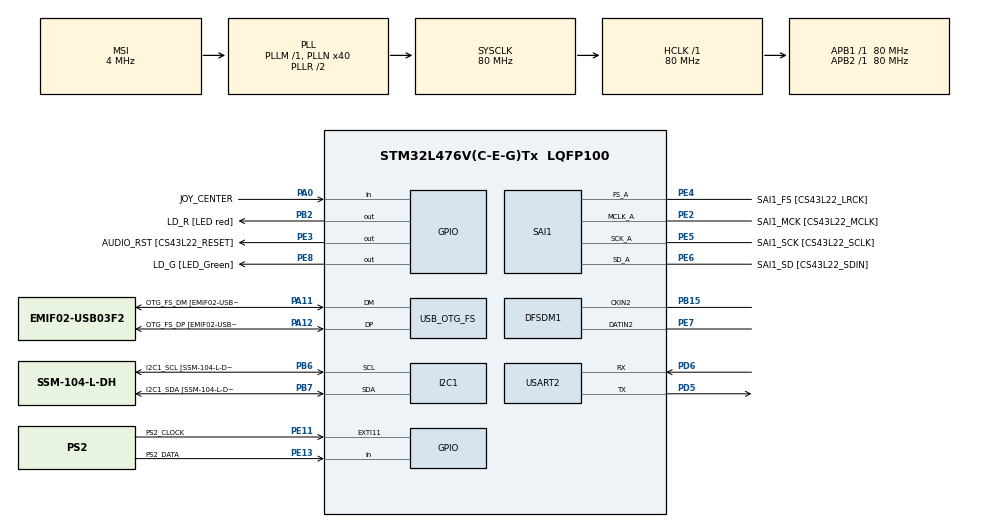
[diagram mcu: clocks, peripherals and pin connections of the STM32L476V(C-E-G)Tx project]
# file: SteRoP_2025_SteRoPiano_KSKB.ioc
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Dma.Request0=SAI1_A
Dma.SAI1_A.0.Direction=DMA_MEMORY_TO_PERIPH
Dma.SAI1_A.0.Instance=DMA2_Channel1
Dma.SAI1_A.0.MemDataAlignment=DMA_MDATAALIGN_HALFWORD
Dma.SAI1_A.0.MemInc=DMA_MINC_ENABLE
Dma.SAI1_A.0.Mode=DMA_CIRCULAR
Dma.SAI1_A.0.PeriphDataAlignment=DMA_PDATAALIGN_HALFWORD
Dma.SAI1_A.0.PeriphInc=DMA_PINC_DISABLE
Dma.SAI1_A.0.Priority=DMA_PRIORITY_HIGH
I2C1.Timing=0x10D19CE4
Mcu.Family=STM32L4
Mcu.Name=STM32L476V(C-E-G)Tx
Mcu.Package=LQFP100
NVIC.DMA2_Channel1_IRQn=true\:2\:0\:true\:false\:true\:false\:true\:true
NVIC.EXTI15_10_IRQn=true\:0\:0\:false\:false\:true\:true\:true\:true
NVIC.OTG_FS_IRQn=true\:1\:0\:true\:false\:true\:true\:true\:true
NVIC.PriorityGroup=NVIC_PRIORITYGROUP_4
NVIC.USART2_IRQn=true\:1\:0\:true\:false\:true\:true\:true\:true
PA0.GPIO_Label=JOY_CENTER 
PA0.GPIO_Mode=GPIO_MODE_INPUT
PA0.GPIO_PuPd=GPIO_PULLDOWN
PA0.Signal=GPIO_Input
PA11.GPIO_Label=OTG_FS_DM [EMIF02-USB03F2_D-out]
PA11.GPIO_Mode=GPIO_MODE_AF_PP
PA11.GPIO_PuPd=GPIO_NOPULL
PA11.GPIO_Speed=GPIO_SPEED_FREQ_VERY_HIGH
PA11.Mode=Device_Only
PA11.Signal=USB_OTG_FS_DM
PA12.GPIO_Label=OTG_FS_DP [EMIF02-USB03F2_D+out]
PA12.GPIO_Mode=GPIO_MODE_AF_PP
PA12.GPIO_PuPd=GPIO_NOPULL
PA12.GPIO_Speed=GPIO_SPEED_FREQ_VERY_HIGH
PA12.Mode=Device_Only
PA12.Signal=USB_OTG_FS_DP
PB15.Signal=S_CKIN2DFSDM1
PB2.GPIO_Label=LD_R [LED red]
PB2.GPIO_ModeDefaultOutputPP=GPIO_MODE_OUTPUT_PP
PB2.GPIO_PuPd=GPIO_PULLUP
PB2.GPIO_Speed=GPIO_SPEED_FREQ_VERY_HIGH
PB2.Signal=GPIO_Output
PB6.GPIO_FM6=__NULL
PB6.GPIO_Label=I2C1_SCL [SSM-104-L-DH_SCL]
PB6.GPIO_Mode=GPIO_MODE_AF_OD
PB6.GPIO_Pu=GPIO_PULLUP
PB6.GPIO_Speed=GPIO_SPEED_FREQ_VERY_HIGH
PB6.Mode=I2C
PB6.Signal=I2C1_SCL
PB7.GPIO_FM7=__NULL
PB7.GPIO_Label=I2C1_SDA [SSM-104-L-DH_SDA]
PB7.GPIO_Mode=GPIO_MODE_AF_OD
PB7.GPIO_Pu=GPIO_PULLUP
PB7.GPIO_Speed=GPIO_SPEED_FREQ_VERY_HIGH
PB7.Mode=I2C
PB7.Signal=I2C1_SDA
PD5.Mode=Asynchronous
PD5.Signal=USART2_TX
PD6.Mode=Asynchronous
PD6.Signal=USART2_RX
PE11.GPIO_Label=PS2_CLOCK
PE11.GPIO_ModeDefaultEXTI=GPIO_MODE_IT_FALLING
PE11.GPIO_PuPd=GPIO_PULLUP
PE11.Signal=GPXTI11
PE13.GPIO_Label=PS2_DATA
PE13.GPIO_PuPd=GPIO_PULLUP
PE13.Signal=GPIO_Input
PE2.GPIO_Label=SAI1_MCK [CS43L22_MCLK]
PE2.GPIO_Mode=GPIO_MODE_AF_PP
PE2.GPIO_PuPd=GPIO_NOPULL
PE2.GPIO_Speed=GPIO_SPEED_FREQ_VERY_HIGH
PE2.Mode=SAI_A_MasterWithClock
PE2.Signal=SAI1_MCLK_A
PE3.GPIO_Label=AUDIO_RST [CS43L22_RESET]
PE3.GPIO_ModeDefaultOutputPP=GPIO_MODE_OUTPUT_PP
PE3.GPIO_PuPd=GPIO_NOPULL
PE3.GPIO_Speed=GPIO_SPEED_FREQ_HIGH
PE3.Signal=GPIO_Output
PE4.GPIO_Label=SAI1_FS [CS43L22_LRCK]
PE4.GPIO_Mode=GPIO_MODE_AF_PP
PE4.GPIO_PuPd=GPIO_NOPULL
PE4.GPIO_Speed=GPIO_SPEED_FREQ_VERY_HIGH
PE4.Mode=SAI_A_MasterWithClock
PE4.Signal=SAI1_FS_A
PE5.GPIO_Label=SAI1_SCK [CS43L22_SCLK]
PE5.GPIO_Mode=GPIO_MODE_AF_PP
PE5.GPIO_PuPd=GPIO_NOPULL
PE5.GPIO_Speed=GPIO_SPEED_FREQ_VERY_HIGH
PE5.Mode=SAI_A_MasterWithClock
PE5.Signal=SAI1_SCK_A
PE6.GPIO_Label=SAI1_SD [CS43L22_SDIN]
PE6.GPIO_Mode=GPIO_MODE_AF_PP
PE6.GPIO_PuPd=GPIO_NOPULL
PE6.GPIO_Speed=GPIO_SPEED_FREQ_VERY_HIGH
PE6.Mode=SAI_A_MasterWithClock
PE6.Signal=SAI1_SD_A
PE7.Signal=S_DATAIN2DFSDM1
PE8.GPIO_Label=LD_G [LED_Green]
PE8.GPIO_ModeDefaultOutputPP=GPIO_MODE_OUTPUT_PP
PE8.GPIO_PuPd=GPIO_PULLUP
PE8.GPIO_Speed=GPIO_SPEED_FREQ_VERY_HIGH
PE8.Signal=GPIO_Output
ProjectManager.HeapSize=0x200
ProjectManager.StackSize=0x400
ProjectManager.TargetToolchain=STM32CubeIDE
RCC.ADCFreq_Value=96000000
RCC.AHBFreq_Value=80000000
RCC.APB1Freq_Value=80000000
RCC.APB1TimFreq_Value=80000000
RCC.APB2Freq_Value=80000000
RCC.APB2TimFreq_Value=80000000
RCC.CortexFreq_Value=80000000
RCC.HCLKFreq_Value=80000000
RCC.HSE_VALUE=8000000
RCC.HSI_VALUE=16000000
RCC.LSE_VALUE=32768
RCC.MSI_VALUE=4000000
RCC.PLLN=40
RCC.PLLQ=RCC_PLLQ_DIV4
RCC.PLLSAI1N=48
RCC.PLLSAI1P=RCC_PLLP_DIV17
RCC.PLLSAI1Q=RCC_PLLQ_DIV4
RCC.PREFETCH_ENABLE=1
RCC.SYSCLKFreq_VALUE=80000000
RCC.SYSCLKSource=RCC_SYSCLKSOURCE_PLLCLK
RCC.USBFreq_Value=48000000
RCC.VCOOutputFreq_Value=160000000
SAI1.ActiveFrameLength-SAI_A_MasterWithClock=16
SAI1.AudioFrequency-SAI_A_MasterWithClock=SAI_AUDIO_FREQUENCY_44K
SAI1.DataSize-SAI_A_MasterWithClock=SAI_DATASIZE_16
SAI1.ErrorAudioFreq-SAI_A_MasterWithClock=0.03 %
SAI1.FIFOThreshold-SAI_A_MasterWithClock=SAI_FIFOTHRESHOLD_1QF
SAI1.FSDefinition-SAI_A_MasterWithClock=SAI_FS_CHANNEL_IDENTIFICATION
SAI1.FSOffset-SAI_A_MasterWithClock=SAI_FS_BEFOREFIRSTBIT
SAI1.FrameLength-SAI_A_MasterWithClock=32
SAI1.Instance-SAI_A_MasterWithClock=SAI$Index_Block_A
SAI1.MClockEnable-SAI_A_MasterWithClock=SAI_MASTERCLOCK_ENABLE
SAI1.NoDivider-SAI_A_MasterWithClock=SAI_MASTERDIVIDER_ENABLE
SAI1.OutputDrive-SAI_A_MasterWithClock=SAI_OUTPUTDRIVE_ENABLE
SAI1.RealAudioFreq-SAI_A_MasterWithClock=44.117 KHz
SAI1.SlotActive-SAI_A_MasterWithClock=0x00000003
SAI1.SlotNumber-SAI_A_MasterWithClock=2
SAI1.VirtualMode-SAI_A_MasterWithClock=VM_MASTER
SAI1.VirtualSlotActive-SAI_A_MasterWithClock=SAI_SLOT_USERSETTING
SAI1.VirtualSlotActive0-SAI_A_MasterWithClock=true
SAI1.VirtualSlotActive1-SAI_A_MasterWithClock=true
SH.S_CKIN2DFSDM1.0=DFSDM1_CKIN2,PDM_SPI_input_from_ch2_and_external_clock
SH.S_DATAIN2DFSDM1.0=DFSDM1_DATIN2,PDM_SPI_input_from_ch2_and_external_clock
USART2.VirtualMode-Asynchronous=VM_ASYNC
USB_DEVICE.CLASS_NAME_FS=HID
USB_DEVICE.VirtualMode=Hid
USB_DEVICE.VirtualModeFS=Hid_FS
USB_OTG_FS.VirtualMode=Device_Only
VP_TIM6_VS_ClockSourceINT.Mode=Enable_Timer
VP_USB_DEVICE_VS_USB_DEVICE_HID_FS.Mode=HID_FS
board=STM32L476G-DISCO

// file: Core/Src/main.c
/* USER CODE BEGIN Header */
/**
  ******************************************************************************
  * @file           : main.c
  * @brief          : Main program body
  ******************************************************************************
  * @attention
  *
  * Copyright (c) 2025 STMicroelectronics.
  * All rights reserved.
  *
  * This software is licensed under terms that can be found in the LICENSE file
  * in the root directory of this software component.
  * If no LICENSE file comes with this software, it is provided AS-IS.
  *
  ******************************************************************************
  */
/* USER CODE END Header */
#include "main.h"
#include "dfsdm.h"
#include "dma.h"
#include "i2c.h"
#include "sai.h"
#include "tim.h"
#include "usart.h"
#include "usb_device.h"
#include "gpio.h"

/* USER CODE BEGIN Includes */

#include "stm32l476g_discovery_audio.h" // do obslugi funkcji audio
#include "stm32l476g_discovery.h"       // LED i inicjacja I2C
#include "math.h"
#include "usbd_hid.h"

/* USER CODE END Includes */

/* USER CODE BEGIN PTD */

typedef struct __attribute__((packed)) {
	uint8_t MODIFIER;
	uint8_t RESERVED;
	uint8_t KEYS[6]; // tablica aktywnych klawiszy
} KeyboardReport;

/* USER CODE END PTD */

/* USER CODE BEGIN PD */

#define AUDIO_FILE_ADDRESS   0x08080000 // adres pliku audio w pamieci, od niego zaczynac przy wgrywaniu
#define AUDIO_FILE_SIZE      (180*1024) // rozmiar pliku audio
#define PLAY_HEADER          0x2C       // rozmiar naglowka wav
#define PLAY_BUFF_SIZE       4096       // rozmiar bufora

// nuty - oktawa 2
#define NOTE_C2  65.41f
#define NOTE_D2  73.42f
#define NOTE_E2  82.41f
#define NOTE_F2  87.31f
#define NOTE_G2  98.00f
#define NOTE_A2  110.00f
#define NOTE_B2  123.47f

// nuty - oktawa 3
#define NOTE_C3  130.81f
#define NOTE_D3  146.83f
#define NOTE_E3  164.81f
#define NOTE_F3  174.61f
#define NOTE_G3  196.00f
#define NOTE_A3  220.00f
#define NOTE_B3  246.94f

// nuty - oktawa 4
#define NOTE_C4  261.63f
#define NOTE_D4  293.66f
#define NOTE_E4  329.63f
#define NOTE_F4  349.23f
#define NOTE_G4  392.00f
#define NOTE_A4  440.00f
#define NOTE_B4  493.88f

// maximum number of notes played
#define MAX_KEYS 7
#define BUFFER_KEYS 20

#define MODE_SYNTH 0 // AudioDAC i glosnik
#define MODE_HID   1 // VMPK orzez usb
/* USER CODE END PD */

/* USER CODE BEGIN PV */

extern SAI_HandleTypeDef hsai_BlockA1; 		// dostepy
extern DMA_HandleTypeDef hdma_sai1_a;
extern UART_HandleTypeDef huart2;
extern USBD_HandleTypeDef hUsbDeviceFS; // uchwyt USB z usb_device.c

AUDIO_DrvTypeDef *audio_drv;          		// wskaznik na driver audio
uint16_t          PlayBuff[PLAY_BUFF_SIZE]; // bufor
__IO int16_t      UpdatePointer = -1;       // flaga do sprawdzania, czy transmizja DMA sie powiodla

// podstawowa oktawa do testow
float scale[] = { NOTE_C4, NOTE_D4, NOTE_E4, NOTE_F4, NOTE_G4, NOTE_A4, NOTE_B4};

typedef struct {
    int flag;						// jesli gra - flaga na 1, jesli nie - flaga na 0
    volatile float freq;			// czestotliwosc dzwieku
    volatile float t;				// czas trwania
    volatile float phase;			// faza fali
    volatile float phase_detune;	// faza rozstrojenia
    float volume_factor;			// glosnosc
} PianoKey;

PianoKey keys[MAX_KEYS]; 			// tablica grajacych klawiszy (dzwiekow) pianina

int melody_step = 0;
uint32_t last_note_time = 0;

float tau = 1.0f;

float odeToJoy[] = {
	      NOTE_E4, NOTE_E4, NOTE_F4, NOTE_G4,
	      NOTE_G4, NOTE_F4, NOTE_E4, NOTE_D4,
	      NOTE_C4, NOTE_C4, NOTE_D4, NOTE_E4,
	      NOTE_E4, NOTE_D4, NOTE_D4,
	      0 // 0 oznacza koniec/pauze
	  };

int melody_len = 15;

volatile uint8_t ps2_bit_count = 0;
volatile uint8_t ps2_scancode = 0;

volatile uint8_t ps2_queue[BUFFER_KEYS];
volatile uint8_t ps2_q_head = 0;
volatile uint8_t ps2_q_tail = 0;

uint8_t key_active[256] = {0};

uint8_t app_mode = MODE_SYNTH; // domyslnie syntezator
uint32_t last_joy_time = 0;

KeyboardReport kb_report = {0};

/* USER CODE END PV */

void SystemClock_Config(void);
void PeriphCommonClock_Config(void);
/* USER CODE BEGIN PFP */

static void Playback_Init(void); // prototyp funkcji do inicjalizacji audio
void Load_Audio();
void GenerateSoundToBuffer(void); // prototyp funkcji generujacej dzwieki
void PlayNote(float freq); // funkcja wywolujaca nowa nute
void Play3Notes(void);
void NextSound(int16_t *out_left, int16_t *out_right);
void PlayOdeToJoy(void);
void ps2WatchDog(void);
void PS2_QueuePush(uint8_t code);
uint8_t PS2_QueuePop(uint8_t *out);
uint8_t readPS2(int data_bit);
char PS2ToChar(uint8_t scancode);
float PS2ToNote(uint8_t scancode);
uint8_t IsButtonPressed();
void ProcessPS2Events(void);
uint8_t PS2ToHIDKey(uint8_t scancode);
void UpdateKeyList(uint8_t key, uint8_t state);
void SendHIDReport(void);
void SilenceAllNotes(void);
void SendShortcut(void);
void TurnDiodes(void);

/* USER CODE END PFP */

int main(void)
{

  /* USER CODE BEGIN 1 */

  //uint32_t PlaybackPosition = PLAY_BUFF_SIZE + PLAY_HEADER; // pozycja odtwarzacza = rozmiar bufora + rozmiar naglowka wav

  /* USER CODE END 1 */

  /* MCU Configuration--------------------------------------------------------*/

  /* Reset of all peripherals, Initializes the Flash interface and the Systick. */
  HAL_Init();

  /* Configure the system clock */
  SystemClock_Config();

  /* Configure the peripherals common clocks */
  PeriphCommonClock_Config();

  /* Initialize all configured peripherals */
  MX_GPIO_Init();
  MX_DMA_Init();
  MX_I2C1_Init();
  MX_SAI1_Init();
  MX_USB_DEVICE_Init();
  MX_DFSDM1_Init();
  MX_TIM6_Init();
  MX_USART2_UART_Init();
  /* USER CODE BEGIN 2 */

  BSP_LED_Init(LED5); // inicjalizacja led
  Playback_Init(); // inicjalizacja audio

  Load_Audio();
  TurnDiodes();
  /* USER CODE END 2 */

  /* Infinite loop */
  /* USER CODE BEGIN WHILE */
  while (1)
  {
	  if (IsButtonPressed() && (HAL_GetTick() - last_joy_time > 500))
	  {
		  last_joy_time = HAL_GetTick();

	      if (app_mode == MODE_SYNTH)
	      {
	    	  app_mode = MODE_HID; // przelacza na PC
	          SilenceAllNotes();   // scisza syntezator

	          HAL_Delay(100);
	          SendShortcut();
	      }
	      else
	      {
	          app_mode = MODE_SYNTH; // przelacza na syntezator
	      }

	      TurnDiodes();
	   }

       ProcessPS2Events();
       GenerateSoundToBuffer();

    /* USER CODE END WHILE */

  }
}

void SystemClock_Config(void)
{
  RCC_OscInitTypeDef RCC_OscInitStruct = {0};
  RCC_ClkInitTypeDef RCC_ClkInitStruct = {0};

  /** Configure the main internal regulator output voltage
  */
  if (HAL_PWREx_ControlVoltageScaling(PWR_REGULATOR_VOLTAGE_SCALE1) != HAL_OK)
  {
    Error_Handler();
  }

  /** Initializes the RCC Oscillators according to the specified parameters
  * in the RCC_OscInitTypeDef structure.
  */
  RCC_OscInitStruct.OscillatorType = RCC_OSCILLATORTYPE_MSI;
  RCC_OscInitStruct.MSIState = RCC_MSI_ON;
  RCC_OscInitStruct.MSICalibrationValue = 0;
  RCC_OscInitStruct.MSIClockRange = RCC_MSIRANGE_6;
  RCC_OscInitStruct.PLL.PLLState = RCC_PLL_ON;
  RCC_OscInitStruct.PLL.PLLSource = RCC_PLLSOURCE_MSI;
  RCC_OscInitStruct.PLL.PLLM = 1;
  RCC_OscInitStruct.PLL.PLLN = 40;
  RCC_OscInitStruct.PLL.PLLP = RCC_PLLP_DIV7;
  RCC_OscInitStruct.PLL.PLLQ = RCC_PLLQ_DIV4;
  RCC_OscInitStruct.PLL.PLLR = RCC_PLLR_DIV2;
  if (HAL_RCC_OscConfig(&RCC_OscInitStruct) != HAL_OK)
  {
    Error_Handler();
  }

  /** Initializes the CPU, AHB and APB buses clocks
  */
  RCC_ClkInitStruct.ClockType = RCC_CLOCKTYPE_HCLK|RCC_CLOCKTYPE_SYSCLK
                              |RCC_CLOCKTYPE_PCLK1|RCC_CLOCKTYPE_PCLK2;
  RCC_ClkInitStruct.SYSCLKSource = RCC_SYSCLKSOURCE_PLLCLK;
  RCC_ClkInitStruct.AHBCLKDivider = RCC_SYSCLK_DIV1;
  RCC_ClkInitStruct.APB1CLKDivider = RCC_HCLK_DIV1;
  RCC_ClkInitStruct.APB2CLKDivider = RCC_HCLK_DIV1;

  if (HAL_RCC_ClockConfig(&RCC_ClkInitStruct, FLASH_LATENCY_4) != HAL_OK)
  {
    Error_Handler();
  }
}

void PeriphCommonClock_Config(void)
{
  RCC_PeriphCLKInitTypeDef PeriphClkInit = {0};

  /** Initializes the peripherals clock
  */
  PeriphClkInit.PeriphClockSelection = RCC_PERIPHCLK_SAI1|RCC_PERIPHCLK_USB;
  PeriphClkInit.Sai1ClockSelection = RCC_SAI1CLKSOURCE_PLLSAI1;
  PeriphClkInit.UsbClockSelection = RCC_USBCLKSOURCE_PLLSAI1;
  PeriphClkInit.PLLSAI1.PLLSAI1Source = RCC_PLLSOURCE_MSI;
  PeriphClkInit.PLLSAI1.PLLSAI1M = 1;
  PeriphClkInit.PLLSAI1.PLLSAI1N = 48;
  PeriphClkInit.PLLSAI1.PLLSAI1P = RCC_PLLP_DIV17;
  PeriphClkInit.PLLSAI1.PLLSAI1Q = RCC_PLLQ_DIV4;
  PeriphClkInit.PLLSAI1.PLLSAI1R = RCC_PLLR_DIV2;
  PeriphClkInit.PLLSAI1.PLLSAI1ClockOut = RCC_PLLSAI1_SAI1CLK|RCC_PLLSAI1_48M2CLK;
  if (HAL_RCCEx_PeriphCLKConfig(&PeriphClkInit) != HAL_OK)
  {
    Error_Handler();
  }
}

/* USER CODE BEGIN 4 */

static void Playback_Init(void) // funkcja odpowiedzialna za przetwarzanie audio
{
  __HAL_SAI_ENABLE(&hsai_BlockA1); // zezwolenie SAI na generowanie zegara bloku A1

  if(CS43L22_ID != cs43l22_drv.ReadID(AUDIO_I2C_ADDRESS)) //sprawdzenie inicjalizacji drivera audio
  {
    Error_Handler();
  }

  audio_drv = &cs43l22_drv;				// przypisanie wskaznika drivera
  audio_drv->Reset(AUDIO_I2C_ADDRESS);	// zresetowanie drivera audio

  // konfiguracja adresow I2C, urzadzenia wyjsciowego, glosnosci i czestotliwosci
  if(0 != audio_drv->Init(AUDIO_I2C_ADDRESS, OUTPUT_DEVICE_HEADPHONE, 90, AUDIO_FREQUENCY_44K)) //zmieniona czestotliwosc na 44k
  {
    Error_Handler();
  }
}

void Load_Audio(void)
{
    for(int i=0; i < PLAY_BUFF_SIZE; i++)
    {
        PlayBuff[i] = 0; // wypelnienie bufora zerami
    }

    if(0 != audio_drv->Play(AUDIO_I2C_ADDRESS, NULL, 0)) // uruchomienie drivera
    {
        Error_Handler();
    }

    if(HAL_OK != HAL_SAI_Transmit_DMA(&hsai_BlockA1, (uint8_t *)PlayBuff, PLAY_BUFF_SIZE)) // uruchomienie DMA
    {
        Error_Handler();
    }
}

void GenerateSoundToBuffer(void)
{
    while (UpdatePointer == -1) { } // obsluga buforowania
    int pos = UpdatePointer;  // 0 or PLAY_BUFF_SIZE/2
    UpdatePointer = -1;

    for (int i = 0; i < PLAY_BUFF_SIZE/2; i += 2) // skok o dwa - raz lewy raz prawy kanal
    {
    	 int16_t sample_left, sample_right;

         NextSound(&sample_left, &sample_right);

         PlayBuff[pos + i]     = sample_left; // zapis do bufora
         PlayBuff[pos + i + 1] = sample_right;
    }
}

void NextSound(int16_t *out_left, int16_t *out_right)
{
	if (app_mode == MODE_HID) {
		*out_left = 0;
	    *out_right = 0;
	    return;
	}
    const float sample_rate = 44100.0f;
    const float volume_scale = 5000.0f;

    static float last_val = 0.0f;
    float mixed_sample = 0.0f;
    static float vibrato_phase = 0.0f;

    vibrato_phase += 5.0f / sample_rate;
    if (vibrato_phase > 1.0f) vibrato_phase -= 1.0f;
    float vib_offset = 1.0f + (0.005f * sinf(vibrato_phase * 6.28f));

    for (int i = 0; i < MAX_KEYS; i++)
    {
        if (!keys[i].flag) continue;

        float triangle;
        if (keys[i].phase < 0.5f)
        	triangle = -1.0f + (4.0f * keys[i].phase);
        else
        	triangle = 1.0f - (4.0f * (keys[i].phase - 0.5f));

        float signal = triangle * triangle;
        if (triangle < 0.0f)
        	signal = -signal;

        float vol_intensify = 1.0f;
        if (keys[i].t < 0.015f)
            vol_intensify = keys[i].t / 0.015f; // narastanie glosniosci dzwieku na poczatku

        float vol_fade = (1.0f - 0.9f * keys[i].t);
        if (vol_fade <= 0.0f) {
            keys[i].flag = 0; // zanikanie glosnosci na koncu
            continue;
        }

        float current_vol = vol_intensify * (vol_fade * vol_fade) * keys[i].volume_factor; // glosnosc chwilowa

        mixed_sample += signal * current_vol;

        keys[i].phase += keys[i].freq * vib_offset / sample_rate; // aktualizacja fazy
        if (keys[i].phase >= 1.0f) keys[i].phase -= 1.0f;
        //if (keys[i].phase >= tau) keys[i].phase -= tau;

        keys[i].t += 1.0f / sample_rate;
    }

    float raw_out = mixed_sample * volume_scale; // surowy sygnal wyjsciowy

    //if (raw_out > 28000.0f) raw_out = 28000.0f;
    //if (raw_out < -28000.0f) raw_out = -28000.0f;
    if (raw_out > 24000.0f)
        raw_out = 24000.0f + tanhf((raw_out - 24000.0f) / 10000.0f) * 2000.0f;
    else if (raw_out < -24000.0f)
        raw_out = -24000.0f + tanhf((raw_out + 24000.0f) / 10000.0f) * 2000.0f;

    float filtered = 0.1f * raw_out + 0.9f * last_val; // nalozenie filtru IIR pierwszego rzedu, zeby wygladzic dzwiek

    last_val = filtered;

    *out_left = (int16_t)filtered;
    *out_right = (int16_t)filtered;
}

void PlayNote(float freq)
{
    for (int i = 0; i < MAX_KEYS; i++) {
        if (keys[i].flag == 1 && fabsf(keys[i].freq - freq) < 0.1f) { // sprawdzenie czy nuta juz gra
            keys[i].t = 0.0f; // jak tak, to resetuje czas trwania
            //keys[i].phase = 0.0f; // faza
            return;
        }
    }

    static int last = 0; // pamietana miedzy wywolaniami
    int empty = -1;

    for (int i = 0; i < MAX_KEYS; i++){ // szukanie wolnego slota od ostatniego + 1
        int idx = (last + 1 + i) % MAX_KEYS;
        if (keys[idx].flag == 0){ // gdy znaleziono, to zapisuje jego indeks
            empty = idx;
            break;
        }
    }
    if (empty == -1) empty = (last + 1) % MAX_KEYS; // jesli nie znalazl, to nadpisuje najstarszy
    last = empty;

    keys[empty].flag = 1; // uruchomienie nowej nuty
    keys[empty].freq = freq;
    keys[empty].t = 0.0f;
    keys[empty].phase = 0.0f;
    keys[empty].phase_detune = 0.0f;

    keys[empty].volume_factor = 260.0f / (freq + 130.0f); // wyrownanie glosnosci, zeby wyeliminowac pisk wysokich nut
}

void Play3Notes(void)
{
	if (melody_step >= melody_len)
	{
		melody_step = 0;
	}

	PlayNote(NOTE_C4);
	PlayNote(NOTE_F4);
	PlayNote(NOTE_C3);

	melody_step++;
}

void PlayOdeToJoy(void)
{
	if (melody_step >= melody_len)
	{
		melody_step = 0;
	}

	PlayNote(odeToJoy[melody_step]);

	melody_step++;
}

int _write(int file, char *ptr, int len){
	HAL_UART_Transmit(&huart2, (uint8_t *)ptr, len, 50);
	return len;
}

void HAL_GPIO_EXTI_Callback(uint16_t GPIO_Pin)
{
    // PS2 interrupt
    if(GPIO_Pin == PS2_CLOCK_Pin)
    {
    	ps2WatchDog();

    	int data_bit = HAL_GPIO_ReadPin(PS2_DATA_GPIO_Port, PS2_DATA_Pin);

    	if(readPS2(data_bit) == 1)
    	{
    		PS2_QueuePush(ps2_scancode);
    	}
    }
}

void ps2WatchDog()
{
	static uint32_t last_ps2_tick = 0;
	uint32_t current_tick = HAL_GetTick();

	if (current_tick - last_ps2_tick > 5)
	{
		ps2_bit_count = 0;
		ps2_scancode = 0;
	}
	last_ps2_tick = current_tick;
}

uint8_t readPS2(int data_bit)
{
    //  PS/2: 1 bit startu, 8 bitów danych, 1 bit parzystosc, 1 bit stopu
    if (ps2_bit_count > 0 && ps2_bit_count < 9)
    {
        if (data_bit)
        {
            ps2_scancode |= (1 << (ps2_bit_count - 1));
        }
    }
    // bit startu
    else if (ps2_bit_count == 0)
    {
        ps2_scancode = 0;
    }

    ps2_bit_count++;

    // bit stopu ignorowany
    if (ps2_bit_count >= 11)
    {
    	ps2_bit_count = 0;
    	return 1;
    }

    return 0;
}

void PS2_QueuePush(uint8_t code)
{
    uint8_t next = (ps2_q_head + 1) % (BUFFER_KEYS);

    if (next == ps2_q_tail)
        return;

    ps2_queue[ps2_q_head] = code;
    ps2_q_head = next;
}

uint8_t PS2_QueuePop(uint8_t *out)
{
    if (ps2_q_tail == ps2_q_head)
        return 0;

    *out = ps2_queue[ps2_q_tail];
    ps2_q_tail = (ps2_q_tail + 1) % (BUFFER_KEYS);
    return 1;
}

char PS2ToChar(uint8_t scancode)
{
    switch(scancode) {
		case 0x1C: return 'A';
		case 0x32: return 'B';
		case 0x21: return 'C';
		case 0x23: return 'D';
		case 0x24: return 'E';
		case 0x2B: return 'F';
		case 0x34: return 'G';
		case 0x33: return 'H';
		case 0x43: return 'I';
		case 0x3B: return 'J';
		case 0x42: return 'K';
		case 0x4B: return 'L';
		case 0x3A: return 'M';
		case 0x31: return 'N';
		case 0x44: return 'O';
		case 0x4D: return 'P';
		case 0x15: return 'Q';
		case 0x2D: return 'R';
		case 0x1B: return 'S';
		case 0x2C: return 'T';
		case 0x3C: return 'U';
		case 0x2A: return 'V';
		case 0x1D: return 'W';
		case 0x22: return 'X';
		case 0x35: return 'Y';
		case 0x1A: return 'Z';

		case 0x16: return '1';
		case 0x1E: return '2';
		case 0x26: return '3';
		case 0x25: return '4';
		case 0x2E: return '5';
		case 0x36: return '6';
		case 0x3D: return '7';
		case 0x3E: return '8';
		case 0x46: return '9';
		case 0x45: return '0';

		case 0x54: return '[';
		case 0x5B: return ']';
		case 0x4C: return ';';
		case 0x52: return '\'';
		case 0x41: return ',';
		case 0x49: return '.';
		case 0x4A: return '/';
		case 0x4E: return '-';
		case 0x55: return '=';
		case 0x5D: return '\\';

		case 0x29: return ' ';
		case 0x5A: return '\r';
		case 0x66: return '\b';

		default: return 0; // 0xF0...
    }
}

float PS2ToNote(uint8_t scancode)
{
	switch(scancode) {
	        //(Q..U) - OKTAWA 2
	        case 0x15: return NOTE_C2;
	        case 0x1D: return NOTE_D2;
	        case 0x24: return NOTE_E2;
	        case 0x2D: return NOTE_F2;
	        case 0x2C: return NOTE_G2;
	        case 0x35: return NOTE_A2;
	        case 0x3C: return NOTE_B2;

	        //(A..J) - OKTAWA 3
	        case 0x1C: return NOTE_C3;
	        case 0x1B: return NOTE_D3;
	        case 0x23: return NOTE_E3;
	        case 0x2B: return NOTE_F3;
	        case 0x34: return NOTE_G3;
	        case 0x33: return NOTE_A3;
	        case 0x3B: return NOTE_B3;

	        //  (Z..M) - OKTAWA 4
	        case 0x1A: return NOTE_C4;
	        case 0x22: return NOTE_D4;
	        case 0x21: return NOTE_E4;
	        case 0x2A: return NOTE_F4;
	        case 0x32: return NOTE_G4;
	        case 0x31: return NOTE_A4;
	        case 0x3A: return NOTE_B4;

	        default: return 0.0; // 0xF0...
	    }
}

uint8_t IsButtonPressed()
{
	if (HAL_GPIO_ReadPin(JOY_CENTER_GPIO_Port, JOY_CENTER_Pin) == GPIO_PIN_SET)
		return 1;

	return 0;
}

void ProcessPS2Events(void)
{
    uint8_t code;
    static uint8_t next_is_break = 0; // pamieta miedzy wywolaniami
    uint8_t hid_update = 0; // flaga dla trybu hid, czy jest jakas zmiana w stanie klawiszy

    while(PS2_QueuePop(&code)) // obsługa wszystkich kodow z bufora po kolei
    {
//		char char_code = PS2ToChar(ps2_scancode);
//		if(char_code != 0)
//			printf("%c\n", char_code);

        if (code == 0xF0) // kod zwolnienia klawisza
        {
            next_is_break = 1;
        }
        else
        {
            if (next_is_break) // poprzedni bajt to bylo 0xF0 wiec ten to kod puszczanego klawisza
            {
                next_is_break = 0;

                key_active[code] = 0; // reset stanu i flagi
                if (app_mode == MODE_HID) {
                	uint8_t hid = PS2ToHIDKey(code);
                    if(hid != 0){
                        UpdateKeyList(hid, 0); // aktualizuje liste aktywnych klawiszy
                        hid_update = 1; // aktywuje flage, ze jest cos do wyslania
                    }
                }
            }
            else // wcisniecie
            {
                if (key_active[code] == 0) // sprawdzenie czy wczesniej nie byl wcisniety
                {
                    key_active[code] = 1;
                    if (app_mode == MODE_SYNTH)
                    {
                    	float note_freq = PS2ToNote(code);
                    	if(note_freq > 0.1f)
                    		PlayNote(note_freq); // granie samodzielne
                    }
                    else
                    {
                    	uint8_t hid = PS2ToHIDKey(code);
                        if(hid != 0){
                        	UpdateKeyList(hid, 1);
                        	hid_update = 1;
                        }
                    }
                }
            }
        }
    }
    if (app_mode == MODE_HID && hid_update)
    	SendHIDReport(); // wyslanie informacji o aktualnym stanie klawiatury
}

void SilenceAllNotes(void)
{
    for(int i=0; i<MAX_KEYS; i++) {
        keys[i].flag = 0;
        keys[i].t = 0.0f;
    }
}

uint8_t PS2ToHIDKey(uint8_t scancode)
{
    switch(scancode) { // kpnwersja z keycodes PS2 na keycodes USB
        //(Q..U) - OKTAWA 2
        case 0x15: return 0x14;
        case 0x1D: return 0x1A;
        case 0x24: return 0x08;
        case 0x2D: return 0x15;
        case 0x2C: return 0x17;
        case 0x35: return 0x1C;
        case 0x3C: return 0x18;

        //(A..J) - OKTAWA 3
        case 0x1C: return 0x04;
        case 0x1B: return 0x16;
        case 0x23: return 0x07;
        case 0x2B: return 0x09;
        case 0x34: return 0x0A;
        case 0x33: return 0x0B;
        case 0x3B: return 0x0D;

        //  (Z..M) - OKTAWA 4
        case 0x1A: return 0x1D;
        case 0x22: return 0x1B;
        case 0x21: return 0x06;
        case 0x2A: return 0x19;
        case 0x32: return 0x05;
        case 0x31: return 0x11;
        case 0x3A: return 0x10;

        default: return 0;
    }
}

void UpdateKeyList(uint8_t key, uint8_t state)
{
    if (key == 0) return;

    if (state == 1) // wykrycie wcisniecia
    {
        for (int i = 0; i < 6; i++) {
            if (kb_report.KEYS[i] == key) return; // jesli klawisz juz wczesniej dzialal, to wychodzi
        }
        for (int i = 0; i < 6; i++) {
            if (kb_report.KEYS[i] == 0) {
                kb_report.KEYS[i] = key; // jesli nie, to wpisuje go w pierwsze wolne miejsce na liscie
                break;
            }
        }
    }
    else // wykrycie puszczenia
    {
        for (int i = 0; i < 6; i++) {
            if (kb_report.KEYS[i] == key) {
                kb_report.KEYS[i] = 0; // szuka klawisza na liscie i zwalnia jego miejsce
            }
        }
        uint8_t temp[6] = {0};
        int idx = 0;
        for (int i = 0; i < 6; i++) {
            if (kb_report.KEYS[i] != 0) {
                temp[idx++] = kb_report.KEYS[i]; // przepisanie aktywnych klawiszy tak, aby nie bylo miedzy nimi dziur w tablicy
            }
        }
        for(int i=0; i<6; i++) kb_report.KEYS[i] = temp[i];
    }
}

void SendHIDReport(void)
{
    uint32_t timeout = HAL_GetTick();
    while (USBD_HID_SendReport(&hUsbDeviceFS, (uint8_t*)&kb_report, sizeof(kb_report)) != USBD_OK)
    {
        if (HAL_GetTick() - timeout > 5) break; // czeka na gotowosc usb, ale jak minie 5ms bez odp to pomija klatke
    }
}

void SendShortcut(void) // wysyla info ze aktywny f12, ktory uruchamia VMPK i Qsynth
{
    for(int i=0; i<6; i++) kb_report.KEYS[i] = 0; // czysci wszystkie klawisze
    kb_report.MODIFIER = 0;

    kb_report.KEYS[0] = 0x45; // wcisniecie F12
    SendHIDReport();

    HAL_Delay(50); // czekanie na odpalenie skryptu

    kb_report.KEYS[0] = 0; // puszczenie F12
    SendHIDReport();
}

void TurnDiodes(void)
{
	if (app_mode == MODE_SYNTH)
	{
	  BSP_LED_On(LED5);  // Zielona = Synth
	  BSP_LED_Off(LED4);
	}
	else
	{
	  BSP_LED_Off(LED5);
	  BSP_LED_On(LED4);  // Czerwona = PC
	}
}

/* USER CODE END 4 */

void Error_Handler(void)
{
  __disable_irq();
  while (1)
  {
  }
}
